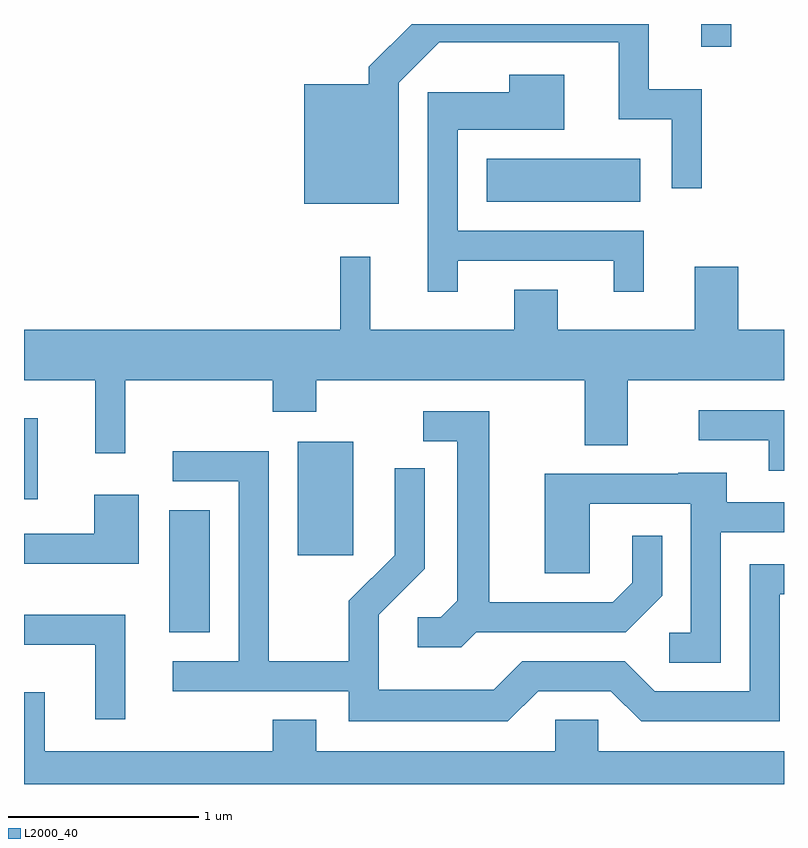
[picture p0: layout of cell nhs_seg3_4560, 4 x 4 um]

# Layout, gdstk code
import gdstk
lib = gdstk.Library(unit=1e-6, precision=1e-09)
def R(c, l, rs):  # rectangles x0, y0, x1, y1
    for r in rs: c.add(gdstk.rectangle(r[:2], r[2:], *l))
def P(c, l, *ps):  # polygons
    for p in ps: c.add(gdstk.Polygon(p, *l))
L2000_40 = (2000, 40)

nhs_seg3_4560 = lib.new_cell('nhs_seg3_4560')
R(nhs_seg3_4560, L2000_40, [(320.376,1124.691,320.589,1125.334), (321.051,1125.096,321.344,1125.694), (319.611,1125.391,319.684,1125.818), (322.046,1126.956,322.854,1127.184), (323.176,1127.773,323.334,1127.892)])
P(nhs_seg3_4560, L2000_40, [(321.584,1127.584),(321.797,1127.796),(322.741,1127.796),(322.741,1127.391),(323.021,1127.391),(323.021,1127.028),(323.179,1127.028),(323.179,1127.549),(322.899,1127.549),(322.899,1127.892),(321.652,1127.892),(321.426,1127.667),(321.426,1127.574),(321.086,1127.574),(321.086,1126.946),(321.584,1126.946)],
  [(321.894,1126.646),(322.716,1126.646),(322.716,1126.483),(322.874,1126.483),(322.874,1126.804),(321.894,1126.804),(321.894,1127.336),(322.454,1127.336),(322.454,1127.624),(322.166,1127.624),(322.166,1127.534),(321.736,1127.534),(321.736,1126.483),(321.894,1126.483)],
  [(320.144,1126.016),(320.921,1126.016),(320.921,1125.851),(321.149,1125.851),(321.149,1126.016),(322.561,1126.016),(322.561,1125.676),(322.789,1125.676),(322.789,1126.016),(323.611,1126.016),(323.611,1126.284),(323.369,1126.284),(323.369,1126.614),(323.141,1126.614),(323.141,1126.284),(322.419,1126.284),(322.419,1126.494),(322.191,1126.494),(322.191,1126.284),(321.434,1126.284),(321.434,1126.668),(321.276,1126.668),(321.276,1126.284),(319.611,1126.284),(319.611,1126.016),(319.986,1126.016),(319.986,1125.633),(320.144,1125.633)],
  [(323.611,1125.859),(323.163,1125.859),(323.163,1125.701),(323.531,1125.701),(323.531,1125.541),(323.611,1125.541)],
  [(321.992,1124.691),(322.777,1124.691),(322.969,1124.884),(322.969,1125.198),(322.811,1125.198),(322.811,1124.952),(322.709,1124.849),(322.059,1124.849),(322.059,1125.854),(321.713,1125.854),(321.713,1125.696),(321.891,1125.696),(321.891,1124.857),(321.804,1124.769),(321.683,1124.769),(321.683,1124.611),(321.912,1124.611)],
  [(322.317,1124.381),(322.699,1124.381),(322.859,1124.221),(323.589,1124.221),(323.589,1124.891),(323.611,1124.891),(323.611,1125.049),(323.431,1125.049),(323.431,1124.379),(322.932,1124.379),(322.772,1124.539),(322.234,1124.539),(322.084,1124.389),(321.479,1124.389),(321.479,1124.784),(321.719,1125.024),(321.719,1125.553),(321.561,1125.553),(321.561,1125.097),(321.321,1124.857),(321.321,1124.539),(320.899,1124.539),(320.899,1125.644),(320.393,1125.644),(320.393,1125.486),(320.741,1125.486),(320.741,1124.539),(320.393,1124.539),(320.393,1124.381),(321.321,1124.381),(321.321,1124.221),(322.157,1124.221)],
  [(323.279,1125.216),(323.611,1125.216),(323.611,1125.374),(323.309,1125.374),(323.309,1125.529),(323.055,1125.529),(323.055,1125.524),(322.351,1125.524),(322.351,1125.001),(322.589,1125.001),(322.589,1125.366),(323.121,1125.366),(323.121,1124.689),(323.008,1124.689),(323.008,1124.531),(323.279,1124.531)],
  [(320.214,1125.414),(319.981,1125.414),(319.981,1125.209),(319.611,1125.209),(319.611,1125.051),(320.214,1125.051)],
  [(320.144,1124.784),(319.611,1124.784),(319.611,1124.626),(319.986,1124.626),(319.986,1124.233),(320.144,1124.233)],
  [(323.611,1124.064),(322.634,1124.064),(322.634,1124.229),(322.406,1124.229),(322.406,1124.064),(321.149,1124.064),(321.149,1124.229),(320.921,1124.229),(320.921,1124.064),(319.719,1124.064),(319.719,1124.374),(319.611,1124.374),(319.611,1123.892),(323.611,1123.892)])

lib.write_gds('nhs_seg3_4560.gds')
